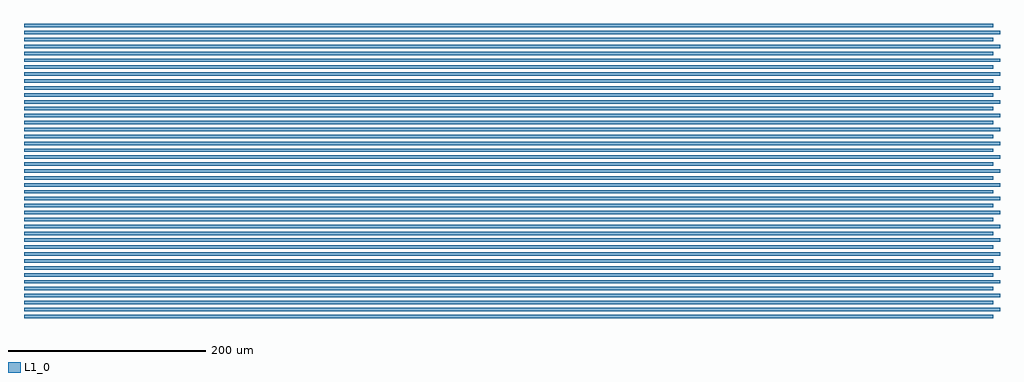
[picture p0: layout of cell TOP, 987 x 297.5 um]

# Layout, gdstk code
from math import pi, radians
import gdstk
lib = gdstk.Library(unit=1e-6, precision=1e-09)
def R(c, l, rs):  # rectangles x0, y0, x1, y1
    for r in rs: c.add(gdstk.rectangle(r[:2], r[2:], *l))
L1_0 = (1, 0)

stick = lib.new_cell('STICK')
R(stick, L1_0, [(0,0,10.5,3.5)])

bar = lib.new_cell('BAR')
R(bar, L1_0, [(0,243.25,3.5,1223.25)])

bars = lib.new_cell('BARS')
r = gdstk.Reference(bar, (1223.25,635.25), rotation=3*pi/2, x_reflection=True); r.repetition = gdstk.Repetition(43, 1, v1=(0,-7), v2=(0,0)); bars.add(r)

top = lib.new_cell('TOP')
r = gdstk.Reference(stick, (52209.5,-465.5), rotation=pi, x_reflection=True); r.repetition = gdstk.Repetition(1, 21, v1=(0,0), v2=(0,14)); top.add(r)
top.add(gdstk.Reference(bars, (51222.5,-810.25)))

lib.write_gds('TOP.gds')
